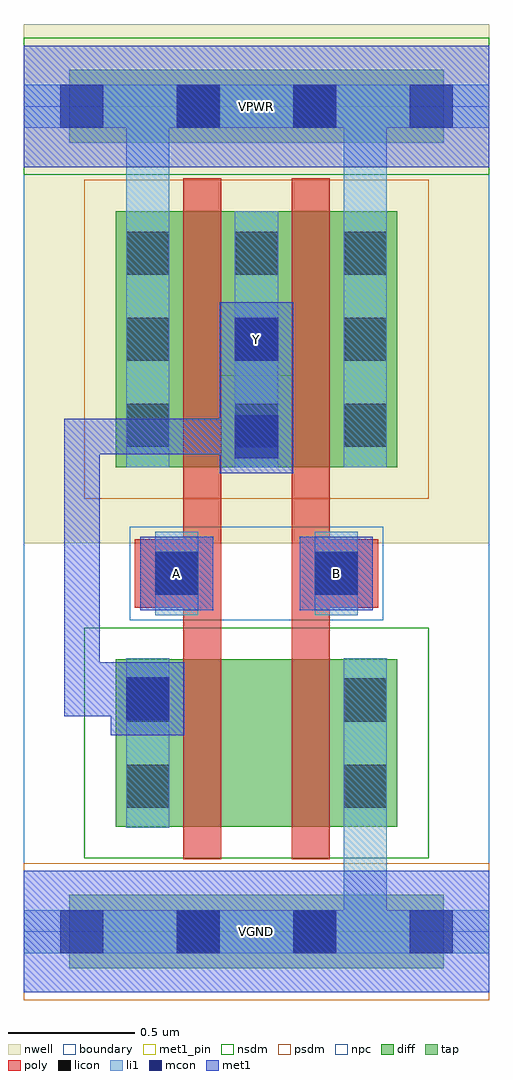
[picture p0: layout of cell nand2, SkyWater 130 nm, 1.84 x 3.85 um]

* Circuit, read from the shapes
.subckt nand2 A B VGND VPWR Y
XM1 n1 A Y VGND sky130_fd_pr__nfet_01v8 w=0.66 l=0.15
XM2 VGND B n1 VGND sky130_fd_pr__nfet_01v8 w=0.66 l=0.15
XM3 Y A VPWR VPWR sky130_fd_pr__pfet_01v8 w=1.01 l=0.15
XM4 VPWR B Y VPWR sky130_fd_pr__pfet_01v8 w=1.01 l=0.15
.ends

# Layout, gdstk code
import gdstk
lib = gdstk.Library(unit=1e-6, precision=1e-09)
def R(c, l, rs):  # rectangles x0, y0, x1, y1
    for r in rs: c.add(gdstk.rectangle(r[:2], r[2:], *l))
def A(c, l, x, y, w, h, nx, ny, dx, dy):  # array of equal rectangles
    R(c, l, [(x+i*dx, y+j*dy, x+i*dx+w, y+j*dy+h) for i in range(nx) for j in range(ny)])
nwell = (64, 20)
diff = (65, 20)
tap = (65, 44)
poly = (66, 20)
licon = (66, 44)
li1 = (67, 20)
mcon = (67, 44)
met1_pin = (68, 16)
met1 = (68, 20)
nsdm = (93, 44)
psdm = (94, 20)
npc = (95, 20)
boundary = (235, 4)

nand2 = lib.new_cell('nand2')
R(nand2, nwell, [(0,1.535,1.84,3.585)])
R(nand2, diff, [(0.365,0.415,1.475,1.075), (0.365,1.835,1.475,2.845)])
R(nand2, tap, [(0.18,-0.145,1.66,0.145), (0.18,3.115,1.66,3.405)])
R(nand2, poly, [(0.63,0.285,0.78,2.975), (1.06,0.285,1.21,2.975), (0.44,1.28,0.77,1.55), (1.07,1.28,1.4,1.55)])
A(nand2, licon, 0.405, 1.915, 0.17, 0.17, 3, 3, 0.43, 0.34)
R(nand2, licon, [(0.605,-0.085,0.775,0.085), (1.065,-0.085,1.235,0.085), (0.405,0.49,0.575,0.66), (1.265,0.49,1.435,0.66), (0.405,0.83,0.575,1), (1.265,0.83,1.435,1), (0.52,1.33,0.69,1.5), (1.15,1.33,1.32,1.5), (0.605,3.175,0.775,3.345), (1.065,3.175,1.235,3.345)])
A(nand2, li1, 0.405, 1.835, 0.17, 1.01, 3, 1, 0.43, 0)
R(nand2, li1, [(0,-0.085,1.84,0.085), (1.265,-0.085,1.435,1.08), (0.405,0.41,0.575,1.08), (1.265,0.41,1.435,1.08), (0.52,1.25,0.69,1.58), (1.15,1.25,1.32,1.58), (0.405,1.835,0.575,3.345), (1.265,1.835,1.435,3.345), (0,3.175,1.84,3.345)])
A(nand2, mcon, 0.145, -0.085, 0.17, 0.17, 4, 2, 0.46, 3.26)
R(nand2, mcon, [(0.405,0.835,0.575,1.005), (0.52,1.33,0.69,1.5), (1.15,1.33,1.32,1.5), (0.835,1.87,1.005,2.04), (0.835,2.255,1.005,2.425)])
R(nand2, met1_pin, [(0,-0.24,1.84,0.24), (0.46,1.27,0.75,1.56), (1.09,1.27,1.38,1.56), (0.775,2.195,1.065,2.485), (0,3.02,1.84,3.5)])
R(nand2, met1, [(0,-0.24,1.84,0.24), (0.345,0.775,0.635,1.065), (0.16,0.85,0.3,2.025), (0.16,0.85,0.415,0.99), (0.275,0.85,0.56,0.99), (0.3,0.85,0.345,1.065), (0.3,0.85,0.345,1.065), (0.3,0.85,0.345,1.065), (0.3,0.85,0.345,1.065), (0.3,0.85,0.345,1.065), (0.3,0.85,0.345,1.065), (0.46,1.27,0.75,1.56), (1.09,1.27,1.38,1.56), (0.775,1.81,1.065,2.1), (0.16,1.885,0.99,2.025), (0.775,2.025,0.99,2.1), (0.775,2.025,0.99,2.1), (0.775,2.025,0.99,2.1), (0.775,2.025,0.99,2.1), (0.775,2.025,0.99,2.1), (0.775,2.025,0.99,2.1), (0.775,2.1,1.065,2.195), (0.775,2.1,1.065,2.195), (0.775,2.1,1.065,2.195), (0.775,2.1,0.99,2.195), (0.775,2.1,0.99,2.195), (0.775,2.195,1.065,2.485), (0,3.02,1.84,3.5)])
R(nand2, nsdm, [(0.24,0.29,1.6,1.2), (0,2.99,1.84,3.53)])
R(nand2, psdm, [(0,-0.27,1.84,0.27), (0.24,1.71,1.6,2.97)])
R(nand2, npc, [(0.42,1.23,1.42,1.6)])
R(nand2, boundary, [(0,0,1.84,3.26)])
nand2.add(gdstk.Label('A', (0.605,1.415), layer=68, texttype=5))
nand2.add(gdstk.Label('B', (1.235,1.415), layer=68, texttype=5))
nand2.add(gdstk.Label('Y', (0.92,2.34), layer=68, texttype=5))
nand2.add(gdstk.Label('VPWR', (0.92,3.26), layer=68, texttype=5))
nand2.add(gdstk.Label('VGND', (0.92,0), layer=68, texttype=5))
nand2.add(gdstk.Label('A', (0.605,1.415), layer=68, texttype=16))
nand2.add(gdstk.Label('B', (1.235,1.415), layer=68, texttype=16))
nand2.add(gdstk.Label('Y', (0.92,2.34), layer=68, texttype=16))
nand2.add(gdstk.Label('VPWR', (0.92,3.26), layer=68, texttype=16))
nand2.add(gdstk.Label('VGND', (0.92,0), layer=68, texttype=16))

lib.write_gds('nand2.gds')
